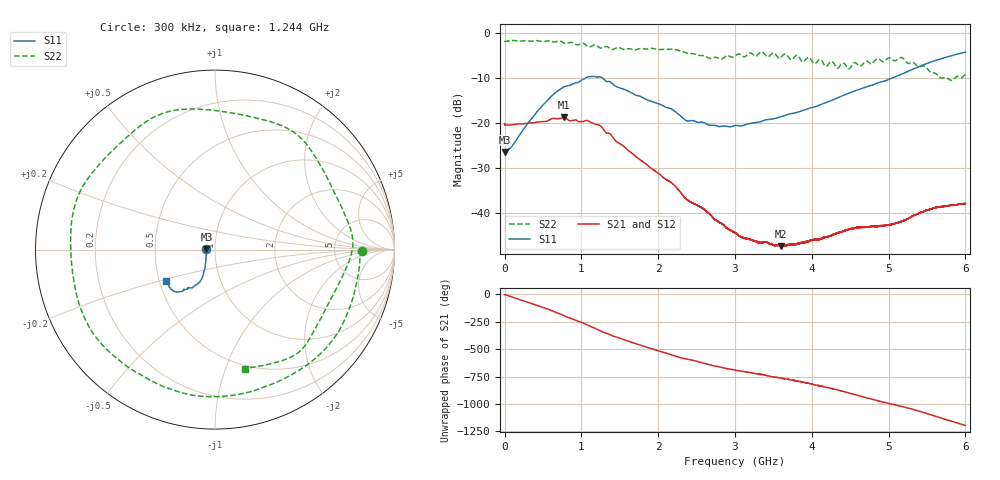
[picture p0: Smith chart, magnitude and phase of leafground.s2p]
!  8/12/2020  02:55:55
! Ref Plane: 0.000 mm
# MHZ S MA R  50
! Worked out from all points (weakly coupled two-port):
!   10001 points, 300 kHz to 6 GHz, reference 50 ohm
!   highest |S21| = -18.75 dB at 767.7 MHz (marker M1); lowest = -47.4 dB at 3.601 GHz (marker M2)
!   lowest |S11| = -26.4 dB at 900 kHz (marker M3), VSWR 1.10, Z = 45.4 + j0.104 ohm
!   |S11| at or under -10 dB: start of sweep to 1.055 GHz; 1.274 GHz to 5.046 GHz (3.772 GHz wide, 119 % of centre)
!   |S22| runs from -10.5 to -1.6 dB; largest |S21 - S12| = 0.0015
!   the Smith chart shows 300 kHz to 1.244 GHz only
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0.3  0.04827 177.5  0.09849 -1.1  0.09697 -1.1  0.8182 -0.5
0.9  0.04775 178.6  0.09464 -0.6  0.09564 -0.5  0.8105 -0.7
248.6876  0.08582 -126.6  0.09825 -58.1  0.09803 -57.9  0.8187 -87.2
468.8766  0.1486 -115.5  0.1034 -111.5  0.1033 -111.3  0.8077 -165.1
767.6616  0.2512 -121.7  0.1155 168.2  0.1153 168.4  0.7797 92.7
1000.45  0.2988 -128.6  0.1038 104.6  0.1035 104.8  0.7655 8.1
1284.836  0.3108 -150.7  0.0856 15.1  0.08545 15.2  0.6915 -92.2
1521.824  0.2422 -154.2  0.05761 -44.7  0.0576 -44.5  0.6718 -170.2
1768.412  0.1979 -152.6  0.03893 -102.9  0.0389 -102.7  0.6753 102.5
2000.6  0.1645 -148.5  0.02777 -154.3  0.02774 -154.2  0.6541 26.1
2320.384  0.1136 -138.0  0.01575 137.1  0.01571 137.0  0.6215 -74.5
2599.37  0.1007 -114.9  0.01098 90.4  0.01091 90.6  0.5598 -173.1
3000.15  0.09377 -81.0  0.006033 29.4  0.006051 30.0  0.5556 34.6
3339.133  0.1042 -55.9  0.004666 -9.3  0.004629 -10.0  0.6171 -73.1
3601.32  0.1177 -40.1  0.004287 -44.5  0.004341 -45.0  0.5387 -158.7
4000.3  0.1485 -18.4  0.004968 -99.2  0.005011 -98.2  0.4923 77.8
4422.679  0.205 -1.9  0.006375 -167.8  0.006286 -167.7  0.4594 -74.1
4707.665  0.2519 3.4  0.007015 136.4  0.006918 137.1  0.4876 -179.1
5000.45  0.3055 7.5  0.00744 85.1  0.007366 85.1  0.5289 89.0
5305.235  0.3935 9.7  0.009201 32.7  0.009158 33.0  0.4703 1.5
5545.823  0.4747 7.2  0.01098 -18.1  0.01099 -18.3  0.3686 -75.9
6000  0.6124 -4.5  0.01273 -116.8  0.01276 -116.6  0.3512 98.6
